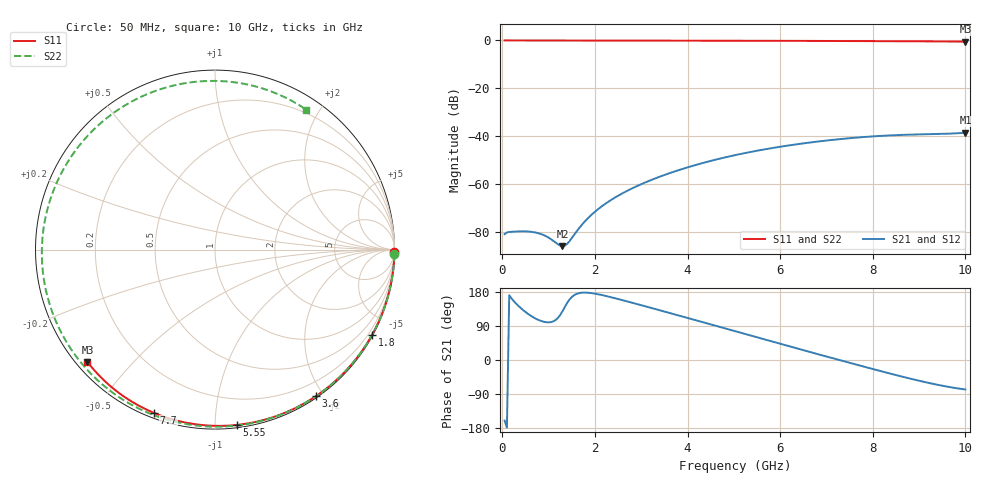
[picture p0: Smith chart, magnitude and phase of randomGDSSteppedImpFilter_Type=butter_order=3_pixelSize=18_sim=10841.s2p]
! freq	dB(S11)	phase(S11)	dB(S12)	phase(S12)
!  dB(S21)	phase(S21)	dB(S22)	phase(S22)
!S-par simulation data
#  GHz  S  DB  R 50
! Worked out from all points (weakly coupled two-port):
!   200 points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, 50 MHz to 10 GHz, reference 50 ohm
!   highest |S21| = -38.53 dB at 10 GHz (marker M1); lowest = -86.0 dB at 1.3 GHz (marker M2)
!   lowest |S11| = -0.5 dB at 10 GHz (marker M3), VSWR 36.66, Z = 1.56 - j18.9 ohm
!   |S11| at or under -10 dB: nowhere
!   |S22| runs from -0.6 to 0.0 dB; largest |S21 - S12| = 0
!   S11 on the Smith chart (normalised r, x): 50 MHz: open; 1.8 GHz: 0.03, -3.95; 3.6 GHz: 0.02, -1.90; 5.55 GHz: 0.02, -1.13; 7.7 GHz: 0.02, -0.69; 10 GHz: 0.03, -0.38
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0.05  -0.00 -0.8  -80.99 -159.8  -80.99 -159.8  -0.00 -1.5
0.65  -0.01 -10.4  -80.07 114.0  -80.07 114.0  -0.02 -19.9
1.3  -0.03 -20.7  -86.01 128.8  -86.01 128.8  -0.05 -39.5
1.6  -0.03 -25.3  -79.96 174.2  -79.96 174.2  -0.06 -48.3
1.75  -0.04 -27.7  -76.35 177.9  -76.35 177.9  -0.07 -52.7
1.8  -0.04 -28.4  -75.29 177.9  -75.29 177.9  -0.07 -54.2
2.1  -0.04 -33.1  -70.05 172.8  -70.05 172.8  -0.08 -62.8
2.45  -0.05 -38.4  -65.49 162.6  -65.49 162.6  -0.09 -72.7
3.4  -0.07 -52.6  -56.96 131.3  -56.96 131.3  -0.13 -98.9
3.6  -0.07 -55.5  -55.57 124.5  -55.57 124.5  -0.14 -104.3
4.3  -0.09 -65.6  -51.39 100.8  -51.39 100.8  -0.17 -123.0
5.05  -0.12 -76.1  -47.85 75.0  -47.85 75.0  -0.21 -142.8
5.55  -0.14 -82.9  -45.93 57.9  -45.93 57.9  -0.25 -156.1
6.15  -0.16 -90.8  -44.00 37.6  -44.00 37.6  -0.29 -172.6
6.7  -0.19 -98.0  -42.53 19.2  -42.53 19.2  -0.34 171.8
7.2  -0.22 -104.3  -41.42 2.6  -41.42 2.6  -0.38 156.9
7.7  -0.25 -110.6  -40.53 -14.0  -40.53 -14.0  -0.42 141.2
8.35  -0.30 -118.6  -39.71 -35.0  -39.71 -35.0  -0.48 119.3
8.8  -0.34 -124.1  -39.37 -48.9  -39.37 -48.9  -0.51 103.2
9.2  -0.38 -129.0  -39.19 -60.3  -39.19 -60.3  -0.54 88.2
9.6  -0.43 -133.8  -39.00 -70.2  -39.00 -70.2  -0.58 72.7
10  -0.47 -138.6  -38.53 -77.8  -38.53 -77.8  -0.63 56.8
